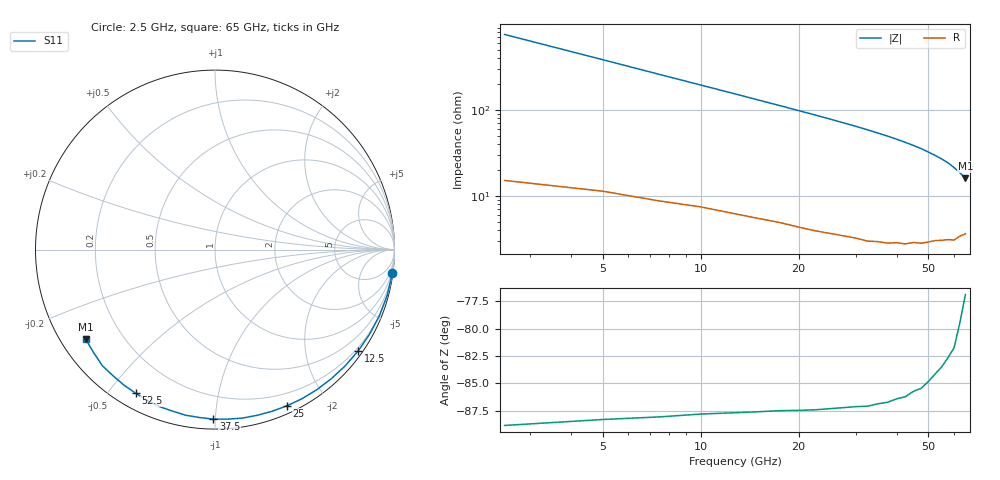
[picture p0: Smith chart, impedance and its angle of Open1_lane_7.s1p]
! File created by SignalIntegrity v1.5.1: Signal and Power Integrity Tools
! https://github.com/Nubis-Communications/SignalIntegrity
# MHz S MA R 50.0
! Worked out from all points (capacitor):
!   26 points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, 2.5 GHz to 65 GHz, reference 50 ohm
!   read as one part to ground: C = 82.9 fF near 2.5 GHz
!   lowest |Z| = 15.9 ohm at 65 GHz (marker M1)
!   S11 on the Smith chart (normalised r, x): 2.5 GHz: 0, -15; 12.5 GHz: 0.13, -3.13; 25 GHz: 0.07, -1.56; 37.5 GHz: 0.06, -0.99; 52.5 GHz: 0.06, -0.59; 65 GHz: 0.07, -0.31
2500  0.9974 -7.6
5000  0.9925 -14.8
7500  0.9875 -21.9
10000  0.9818 -28.8
12500  0.977 -35.4
15000  0.9725 -41.9
17500  0.9681 -48.0
20000  0.9649 -54.0
22500  0.9619 -59.7
25000  0.9584 -65.2
27500  0.9553 -70.6
30000  0.9526 -75.7
32500  0.9512 -80.8
35000  0.9471 -85.8
37500  0.9445 -90.5
40000  0.9396 -95.3
42500  0.9372 -100.0
45000  0.9305 -104.7
47500  0.928 -109.3
50000  0.9212 -114.3
52500  0.9142 -118.9
55000  0.9097 -123.8
57500  0.9041 -128.6
60000  0.9014 -134.1
62500  0.887 -139.7
65000  0.8764 -145.4
